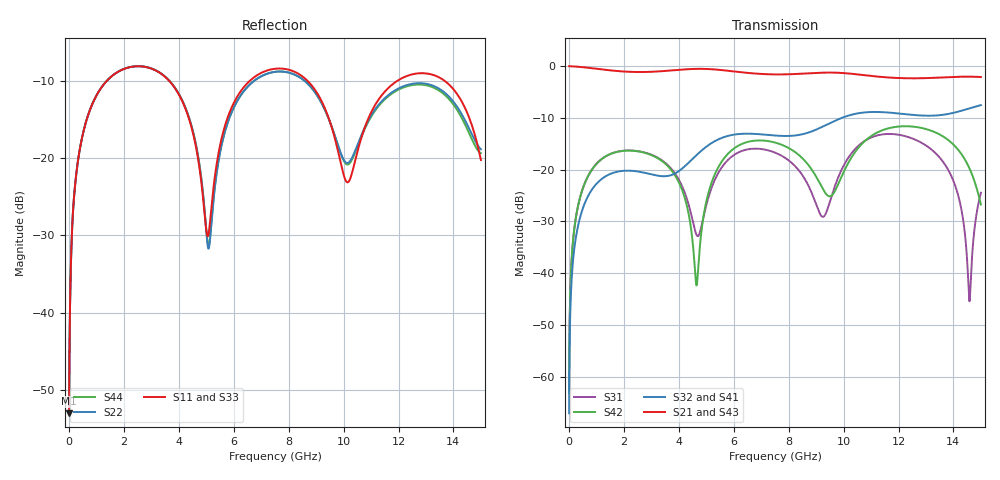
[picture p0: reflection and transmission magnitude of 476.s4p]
! Created with skrf 1.8.0 (http://scikit-rf.org).
# GHz S RI R 50.0
!freq ReS11 ImS11 ReS12 ImS12 ReS13 ImS13
! ReS14 ImS14
! ReS21 ImS21 ReS22 ImS22 ReS23 ImS23
! ReS24 ImS24
! ReS31 ImS31 ReS32 ImS32 ReS33 ImS33
! ReS34 ImS34
! ReS41 ImS41 ReS42 ImS42 ReS43 ImS43
! ReS44 ImS44
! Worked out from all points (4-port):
!   2499 points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, 5 MHz to 15 GHz, reference 50 ohm
!   strongest paths, dB at 5 MHz, 3.476 GHz, 7.19 GHz, 11.1 GHz, 15 GHz:
!     S21: 0.0, -0.9, -1.6, -2.0, -2.1
!     S43: 0.0, -0.9, -1.6, -1.9, -2.1
!     S32: -67.1, -21.3, -13.3, -8.9, -7.5
!     S41: -67.1, -21.3, -13.3, -8.9, -7.5
!     S42: -63.2, -18.7, -14.4, -13.2, -26.7
!     S31: -63.2, -18.6, -16.2, -13.6, -24.5
!   lowest |S11| = -53.1 dB at 5 MHz (marker M1), VSWR 1.00, Z = 50.2 + j0.135 ohm
!   |S11| at or under -10 dB: start of sweep to 1.372 GHz; 3.654 GHz to 6.578 GHz (2.924 GHz wide, 57.1 % of centre); 8.693 GHz to 11.95 GHz (3.255 GHz wide, 31.5 % of centre) (the widest 3 of 4)
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0.005  0.00177 0.00135  0.9982 -0.00345  8.89e-05 0.000689  -8.64e-05 -0.000434
       0.9982 -0.00345  0.00177 0.00135  -8.64e-05 -0.000434  8.89e-05 0.000689
       8.89e-05 0.000689  -8.64e-05 -0.000434  0.00177 0.00135  0.9982 -0.00345
       -8.64e-05 -0.000434  8.89e-05 0.000689  0.9982 -0.00345  0.00177 0.00135
0.3126303  0.0274 0.088  0.9626 -0.2137  0.0125 0.0405  -0.0104 -0.0252
           0.9626 -0.2137  0.0274 0.088  -0.0104 -0.0252  0.0125 0.0405
           0.0125 0.0405  -0.0104 -0.0252  0.0274 0.088  0.9626 -0.2137
           -0.0104 -0.0252  0.0125 0.0405  0.9626 -0.2137  0.0274 0.088
1.569404  0.298 0.1663  0.4871 -0.7633  0.1347 0.0506  -0.0922 0.00388
          0.4871 -0.7633  0.298 0.1663  -0.0923 0.00393  0.1342 0.0515
          0.1347 0.0506  -0.0923 0.00393  0.298 0.1663  0.4871 -0.7633
          -0.0922 0.00388  0.1342 0.0515  0.4871 -0.7633  0.2981 0.1663
4.645686  0.0558 -0.0984  -0.885 -0.3172  -0.0215 -0.00938  -0.0425 0.1315
          -0.885 -0.3172  0.0533 -0.1039  -0.0421 0.1317  0.00758 0.000512
          -0.0215 -0.00938  -0.0421 0.1317  0.0551 -0.0989  -0.8849 -0.3174
          -0.0425 0.1315  0.00758 0.000512  -0.8849 -0.3174  0.0541 -0.1039
7.72822  0.3801 -0.0223  -0.0526 0.8294  0.1282 -0.0479  0.206 -0.0453
         -0.0526 0.8294  0.3642 0.00191  0.2065 -0.047  0.1374 -0.1077
         0.1282 -0.0479  0.2065 -0.047  0.3793 -0.0195  -0.0527 0.8296
         0.206 -0.0453  0.1374 -0.1077  -0.0527 0.8296  0.3642 -0.000993
10.49812  0.0928 0.0573  0.8297 -0.0594  0.0401 0.1611  -0.0459 -0.3459
          0.8297 -0.0594  0.1115 0.0472  -0.0485 -0.3454  0.0617 0.1449
          0.0401 0.1611  -0.0485 -0.3454  0.0941 0.0538  0.8301 -0.0584
          -0.0459 -0.3459  0.0617 0.1449  0.8301 -0.0584  0.1092 0.0448
15  0.0618 -0.0752  -0.718 -0.3138  -0.00435 0.0596  -0.1613 0.387
    -0.718 -0.3138  0.1127 -0.0187  -0.1564 0.3895  -0.0441 -0.0132
    -0.00435 0.0596  -0.1564 0.3895  0.0567 -0.0649  -0.7204 -0.3106
    -0.1613 0.387  -0.0441 -0.0132  -0.7204 -0.3106  0.1075 -0.00875
